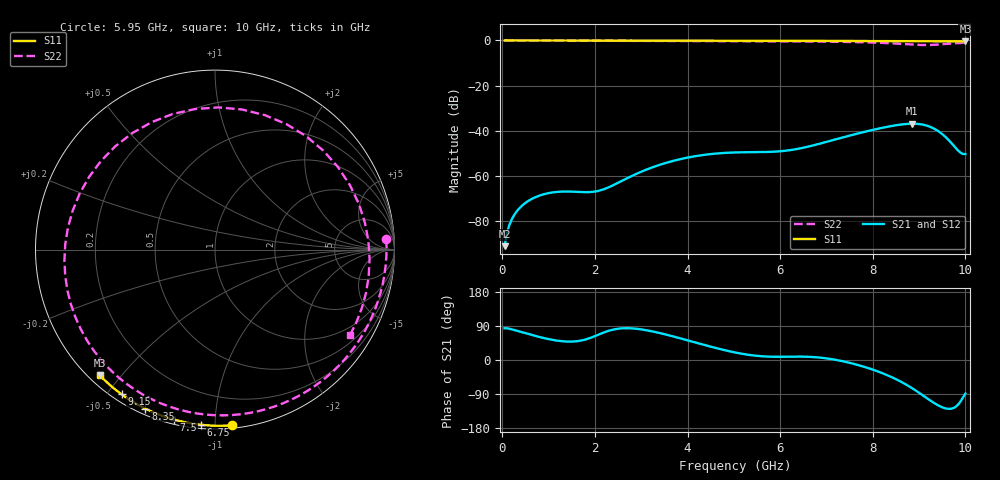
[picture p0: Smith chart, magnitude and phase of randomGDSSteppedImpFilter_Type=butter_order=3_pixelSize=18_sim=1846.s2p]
! freq	dB(S11)	phase(S11)	dB(S12)	phase(S12)
!  dB(S21)	phase(S21)	dB(S22)	phase(S22)
!S-par simulation data
#  GHz  S  DB  R 50
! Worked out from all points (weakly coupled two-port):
!   200 points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, 50 MHz to 10 GHz, reference 50 ohm
!   highest |S21| = -36.89 dB at 8.85 GHz (marker M1); lowest = -91.1 dB at 50 MHz (marker M2)
!   lowest |S11| = -0.4 dB at 10 GHz (marker M3), VSWR 38.85, Z = 1.53 - j21.9 ohm
!   |S11| at or under -10 dB: nowhere
!   |S22| runs from -2.0 to 0.0 dB; largest |S21 - S12| = 0
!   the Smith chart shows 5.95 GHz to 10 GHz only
!   S11 on the Smith chart (normalised r, x): 5.95 GHz: 0.02, -1.10; 6.75 GHz: 0.02, -0.92; 7.5 GHz: 0.02, -0.79; 8.35 GHz: 0.02, -0.65; 9.15 GHz: 0.03, -0.54; 10 GHz: 0.03, -0.44
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0.05  -0.00 -0.8  -91.14 83.8  -91.14 83.8  -0.01 -3.1
0.2  -0.01 -3.1  -79.45 81.1  -79.45 81.1  -0.03 -12.6
0.55  -0.01 -8.4  -71.25 68.9  -71.25 68.9  -0.05 -34.7
0.95  -0.02 -14.5  -67.86 56.4  -67.86 56.4  -0.08 -59.5
1.75  -0.03 -26.5  -67.20 52.6  -67.20 52.6  -0.13 -106.9
2.6  -0.05 -38.9  -62.02 83.7  -62.02 83.7  -0.18 -155.1
3.4  -0.07 -50.4  -55.09 71.1  -55.09 71.1  -0.22 159.4
4.3  -0.09 -62.8  -50.86 41.8  -50.86 41.8  -0.28 105.7
5.05  -0.11 -72.9  -49.60 19.3  -49.60 19.3  -0.33 58.9
5.95  -0.15 -84.5  -49.17 8.4  -49.17 8.4  -0.39 3.4
6.7  -0.18 -93.9  -46.56 7.9  -46.56 7.9  -0.48 -40.5
6.75  -0.18 -94.5  -46.30 7.5  -46.30 7.5  -0.49 -43.3
7.5  -0.23 -103.6  -42.16 -7.4  -42.16 -7.4  -0.68 -87.0
7.95  -0.26 -108.9  -39.86 -23.3  -39.86 -23.3  -0.90 -116.6
8.35  -0.29 -113.6  -38.11 -42.1  -38.11 -42.1  -1.22 -149.3
8.6  -0.31 -116.5  -37.28 -56.8  -37.28 -56.8  -1.50 -175.9
8.85  -0.33 -119.4  -36.89 -74.5  -36.89 -74.5  -1.83 150.0
9.15  -0.36 -122.9  -37.65 -99.2  -37.65 -99.2  -2.03 98.0
9.35  -0.38 -125.2  -39.37 -115.4  -39.37 -115.4  -1.89 60.4
9.55  -0.40 -127.4  -42.36 -126.9  -42.36 -126.9  -1.59 25.6
9.75  -0.42 -129.7  -46.66 -126.4  -46.66 -126.4  -1.28 -3.5
10  -0.45 -132.6  -50.33 -88.4  -50.33 -88.4  -1.01 -32.2
